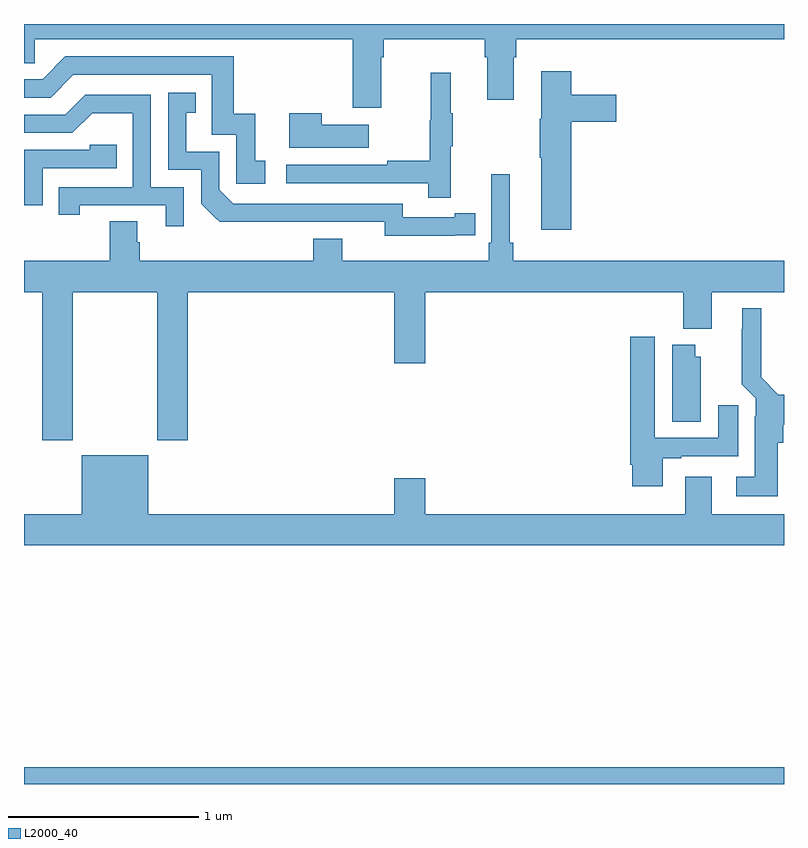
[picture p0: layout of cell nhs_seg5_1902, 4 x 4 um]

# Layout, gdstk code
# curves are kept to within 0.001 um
import gdstk
lib = gdstk.Library(unit=1e-6, precision=1e-09)
def R(c, l, rs):  # rectangles x0, y0, x1, y1
    for r in rs: c.add(gdstk.rectangle(r[:2], r[2:], *l))
def P(c, l, *ps):  # polygons
    for p in ps: c.add(gdstk.Polygon(p, *l))
L2000_40 = (2000, 40)

nhs_seg5_1902 = lib.new_cell('nhs_seg5_1902')
R(nhs_seg5_1902, L2000_40, [(223,892.799,227,892.888)])
P(nhs_seg5_1902, L2000_40, [(223,896.593),(223.056,896.593),(223.056,896.72),(224.729,896.72),(224.729,896.358),(224.881,896.358),(224.881,896.624),(224.894,896.624),(224.894,896.72),(225.425,896.72),(225.425,896.624),(225.437,896.624),(225.437,896.4),(225.577,896.4),(225.577,896.624),(225.59,896.624),(225.59,896.72),(227,896.72),(227,896.799),(223,896.799)],
  [(224.269,896.079),(224.216,896.079),(224.216,896.326),(224.105,896.326),(224.105,896.628),(223.218,896.628),(223.098,896.508),(223,896.508),(223,896.412),(223.14,896.412),(223.26,896.532),(223.989,896.532),(223.989,896.217),(224.118,896.217),(224.118,895.959),(224.269,895.959)],
  [(225.881,896.285),(226.117,896.285),(226.117,896.427),(225.881,896.427),(225.881,896.551),(225.722,896.551),(225.722,896.301),(225.715,896.301),(225.715,896.095),(225.722,896.095),(225.722,895.716),(225.881,895.716)],
  [(225.245,896.155),(225.256,896.155),(225.256,896.329),(225.245,896.329),(225.245,896.542),(225.142,896.542),(225.142,896.292),(225.135,896.292),(225.135,896.078),(224.911,896.078),(224.911,896.058),(224.379,896.058),(224.379,895.962),(225.127,895.962),(225.127,895.884),(225.245,895.884)],
  [(225.266,895.686),(225.374,895.686),(225.374,895.802),(225.266,895.802),(225.266,895.782),(224.994,895.782),(224.994,895.854),(224.1,895.854),(224.028,895.926),(224.028,896.127),(223.855,896.127),(223.855,896.331),(223.904,896.331),(223.904,896.437),(223.758,896.437),(223.758,896.031),(223.932,896.031),(223.932,895.854),(224.03,895.757),(224.898,895.758),(224.898,895.685)],
  [(223.842,895.941),(223.668,895.941),(223.668,896.427),(223.322,896.427),(223.217,896.322),(223,896.322),(223,896.226),(223.254,896.226),(223.358,896.33),(223.572,896.33),(223.572,895.941),(223.183,895.941),(223.183,895.794),(223.294,895.794),(223.294,895.845),(223.745,895.845),(223.745,895.734),(223.842,895.734)],
  [(224.815,896.269),(224.567,896.269),(224.567,896.329),(224.396,896.329),(224.396,896.147),(224.815,896.147)],
  [(223.098,896.04),(223.487,896.04),(223.487,896.163),(223.347,896.163),(223.347,896.136),(223.002,896.136),(223.002,895.941),(223,895.941),(223,895.845),(223.098,895.845)],
  [(223.257,895.388),(223.702,895.388),(223.702,894.609),(223.862,894.609),(223.862,895.388),(224.948,895.388),(224.948,895.014),(225.112,895.014),(225.112,895.388),(226.469,895.388),(226.469,895.196),(226.621,895.196),(226.621,895.388),(227,895.388),(227,895.552),(225.575,895.552),(225.575,895.648),(225.556,895.648),(225.556,896.008),(225.459,896.008),(225.459,895.648),(225.446,895.648),(225.446,895.552),(224.674,895.552),(224.674,895.669),(224.522,895.669),(224.522,895.552),(223.61,895.552),(223.61,895.65),(223.597,895.65),(223.597,895.76),(223.45,895.76),(223.45,895.552),(223,895.552),(223,895.388),(223.097,895.388),(223.097,894.609),(223.257,894.609)],
  [(226.966,894.594),(226.997,894.594),(226.997,894.689),(227,894.689),(227,894.847),(226.971,894.847),(226.879,894.94),(226.879,895.303),(226.781,895.303),(226.781,895.193),(226.777,895.193),(226.777,894.902),(226.851,894.828),(226.851,894.734),(226.847,894.734),(226.847,894.415),(226.749,894.415),(226.749,894.314),(226.966,894.314)],
  [(226.363,894.513),(226.459,894.513),(226.459,894.525),(226.759,894.525),(226.759,894.793),(226.655,894.793),(226.655,894.621),(226.321,894.621),(226.321,895.153),(226.19,895.153),(226.19,894.478),(226.202,894.478),(226.202,894.366),(226.363,894.366)],
  [(226.561,895.047),(226.534,895.047),(226.534,895.111),(226.412,895.111),(226.412,894.706),(226.561,894.706)],
  [(227,894.22),(226.621,894.22),(226.621,894.415),(226.481,894.415),(226.481,894.22),(225.112,894.22),(225.112,894.409),(224.948,894.409),(224.948,894.22),(223.654,894.22),(223.654,894.529),(223.304,894.529),(223.304,894.22),(223,894.22),(223,894.056),(227,894.056)])

lib.write_gds('nhs_seg5_1902.gds')
